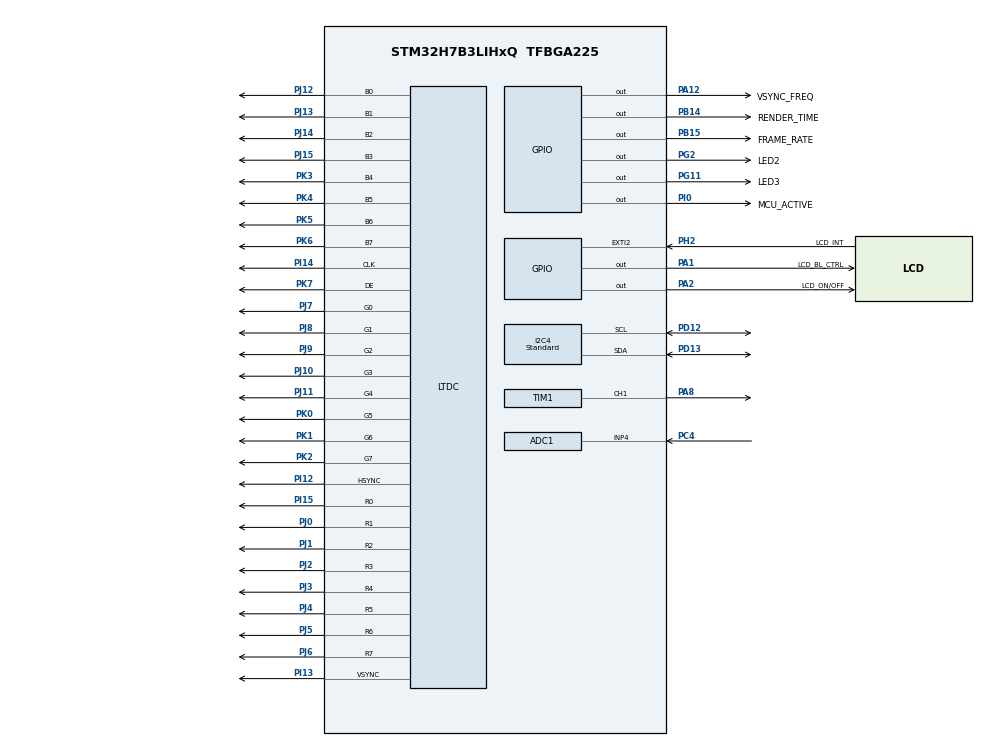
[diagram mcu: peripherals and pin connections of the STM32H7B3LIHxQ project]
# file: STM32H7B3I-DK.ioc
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ADC1.Channel-0\#ChannelRegularConversion=ADC_CHANNEL_4
ADC1.ExternalTrigConv=ADC_EXTERNALTRIG_T1_CC1
ADC1.NbrOfConversionFlag=1
ADC1.OffsetNumber-0\#ChannelRegularConversion=ADC_OFFSET_NONE
ADC1.OffsetSignedSaturation-0\#ChannelRegularConversion=DISABLE
ADC1.Rank-0\#ChannelRegularConversion=1
ADC1.SamplingTime-0\#ChannelRegularConversion=ADC_SAMPLETIME_1CYCLE_5
ADC1.master=1
CORTEX_M7.AccessPermission-Cortex_Memory_Protection_Unit_Region1_Settings=MPU_REGION_FULL_ACCESS
CORTEX_M7.AccessPermission-Cortex_Memory_Protection_Unit_Region2_Settings=MPU_REGION_FULL_ACCESS
CORTEX_M7.AccessPermission-Cortex_Memory_Protection_Unit_Region3_Settings=MPU_REGION_FULL_ACCESS
CORTEX_M7.BaseAddress-Cortex_Memory_Protection_Unit_Region0_Settings=0x90000000
CORTEX_M7.BaseAddress-Cortex_Memory_Protection_Unit_Region1_Settings=0x90000000
CORTEX_M7.BaseAddress-Cortex_Memory_Protection_Unit_Region2_Settings=0x24000000
CORTEX_M7.BaseAddress-Cortex_Memory_Protection_Unit_Region3_Settings=0x24000000
CORTEX_M7.CPU_DCache=Enabled
CORTEX_M7.CPU_ICache=Enabled
CORTEX_M7.DisableExec-Cortex_Memory_Protection_Unit_Region0_Settings=MPU_INSTRUCTION_ACCESS_DISABLE
CORTEX_M7.DisableExec-Cortex_Memory_Protection_Unit_Region1_Settings=MPU_INSTRUCTION_ACCESS_DISABLE
CORTEX_M7.DisableExec-Cortex_Memory_Protection_Unit_Region2_Settings=MPU_INSTRUCTION_ACCESS_DISABLE
CORTEX_M7.DisableExec-Cortex_Memory_Protection_Unit_Region3_Settings=MPU_INSTRUCTION_ACCESS_DISABLE
CORTEX_M7.Enable-Cortex_Memory_Protection_Unit_Region0_Settings=MPU_REGION_ENABLE
CORTEX_M7.Enable-Cortex_Memory_Protection_Unit_Region1_Settings=MPU_REGION_ENABLE
CORTEX_M7.Enable-Cortex_Memory_Protection_Unit_Region2_Settings=MPU_REGION_ENABLE
CORTEX_M7.Enable-Cortex_Memory_Protection_Unit_Region3_Settings=MPU_REGION_ENABLE
CORTEX_M7.IsBufferable-Cortex_Memory_Protection_Unit_Region3_Settings=MPU_ACCESS_BUFFERABLE
CORTEX_M7.IsCacheable-Cortex_Memory_Protection_Unit_Region1_Settings=MPU_ACCESS_CACHEABLE
CORTEX_M7.IsCacheable-Cortex_Memory_Protection_Unit_Region2_Settings=MPU_ACCESS_CACHEABLE
CORTEX_M7.IsCacheable-Cortex_Memory_Protection_Unit_Region3_Settings=MPU_ACCESS_CACHEABLE
CORTEX_M7.MPU_Control=MPU_PRIVILEGED_DEFAULT
CORTEX_M7.Size-Cortex_Memory_Protection_Unit_Region0_Settings=MPU_REGION_SIZE_256MB
CORTEX_M7.Size-Cortex_Memory_Protection_Unit_Region1_Settings=MPU_REGION_SIZE_64MB
CORTEX_M7.Size-Cortex_Memory_Protection_Unit_Region2_Settings=MPU_REGION_SIZE_1MB
CORTEX_M7.Size-Cortex_Memory_Protection_Unit_Region3_Settings=MPU_REGION_SIZE_256KB
DMA2D.ColorMode=DMA2D_OUTPUT_RGB565
FREERTOS.Tasks01=defaultTask,24,128,StartDefaultTask,Default,NULL,Dynamic,NULL,NULL;GUI_Task,24,4096,TouchGFX_Task,As external,NULL,Dynamic,NULL,NULL
FREERTOS.configTOTAL_HEAP_SIZE=32768
I2C4.Analog_Filter=I2C_ANALOGFILTER_DISABLE
I2C4.I2C_Fall_Time=0
I2C4.I2C_Rise_Time=0
I2C4.I2C_Speed_Mode=I2C_Standard
I2C4.Speed=100
I2C4.Timing=0x30808BD0
LTDC.ActiveH=272
LTDC.ActiveW=480
LTDC.Alpha_L0=255
LTDC.BlendingFactor1_L0=LTDC_BLENDING_FACTOR1_CA
LTDC.BlendingFactor2_L0=LTDC_BLENDING_FACTOR2_CA
LTDC.Blue_L0=255
LTDC.HBP=2
LTDC.HFP=32
LTDC.HSync=41
LTDC.ImageHeight_L0=272
LTDC.ImageWidth_L0=480
LTDC.Layers=0
LTDC.PixelFormat_L0=LTDC_PIXEL_FORMAT_RGB888
LTDC.VSync=10
LTDC.WindowX1_L0=480
LTDC.WindowY1_L0=272
Mcu.Family=STM32H7
Mcu.Name=STM32H7B3LIHxQ
Mcu.Package=TFBGA225
NVIC.ADC_IRQn=true\:5\:0\:false\:false\:true\:true\:true\:true
NVIC.DMA2D_IRQn=true\:5\:0\:true\:false\:true\:false\:true\:true
NVIC.EXTI2_IRQn=true\:5\:0\:false\:false\:true\:true\:true\:true
NVIC.LTDC_IRQn=true\:5\:0\:false\:false\:true\:true\:true\:true
NVIC.OCTOSPI1_IRQn=true\:5\:0\:false\:false\:true\:true\:true\:true
NVIC.PriorityGroup=NVIC_PRIORITYGROUP_4
NVIC.TIM6_DAC_IRQn=true\:0\:0\:false\:false\:true\:false\:false\:true
NVIC.TimeBase=TIM6_DAC_IRQn
NVIC.TimeBaseIP=TIM6
OCTOSPI1.ChipSelectBoundary=0
OCTOSPI1.ChipSelectHighTime=2
OCTOSPI1.ClockPrescaler=3
OCTOSPI1.DeviceSize=26
OCTOSPI1.Refresh=0
PA1.GPIO_Label=LCD_BL_CTRL
PA1.GPIO_ModeDefaultOutputPP=GPIO_MODE_OUTPUT_PP
PA1.GPIO_PuPd=GPIO_NOPULL
PA1.GPIO_Speed=GPIO_SPEED_FREQ_LOW
PA1.PinState=GPIO_PIN_RESET
PA1.Signal=GPIO_Output
PA12.GPIO_Label=VSYNC_FREQ
PA12.Signal=GPIO_Output
PA2.GPIO_Label=LCD_ON/OFF
PA2.GPIO_ModeDefaultOutputPP=GPIO_MODE_OUTPUT_PP
PA2.GPIO_PuPd=GPIO_PULLUP
PA2.GPIO_Speed=GPIO_SPEED_FREQ_LOW
PA2.PinState=GPIO_PIN_RESET
PA2.Signal=GPIO_Output
PA8.Signal=S_TIM1_CH1
PB14.GPIO_Label=RENDER_TIME
PB14.Signal=GPIO_Output
PB15.GPIO_Label=FRAME_RATE
PB15.Signal=GPIO_Output
PC4.Signal=ADCx_INP4
PD12.GPIO_Pu=GPIO_PULLUP
PD12.GPIO_Speed=GPIO_SPEED_FREQ_HIGH
PD12.Mode=I2C
PD12.Signal=I2C4_SCL
PD13.GPIO_Pu=GPIO_PULLUP
PD13.GPIO_Speed=GPIO_SPEED_FREQ_HIGH
PD13.Mode=I2C
PD13.Signal=I2C4_SDA
PG11.GPIO_Label=LED3
PG11.Signal=GPIO_Output
PG2.GPIO_Label=LED2
PG2.Signal=GPIO_Output
PH0-OSC_IN.Mode=HSE-External-Oscillator
PH0-OSC_IN.Signal=RCC_OSC_IN
PH1-OSC_OUT.Mode=HSE-External-Oscillator
PH1-OSC_OUT.Signal=RCC_OSC_OUT
PH2.GPIO_Label=LCD_INT
PH2.GPIO_PuPd=GPIO_PULLUP
PH2.Signal=GPXTI2
PI0.GPIO_Label=MCU_ACTIVE
PI0.Signal=GPIO_Output
PI12.Mode=RGB888
PI12.Signal=LTDC_HSYNC
PI13.Mode=RGB888
PI13.Signal=LTDC_VSYNC
PI14.Mode=RGB888
PI14.Signal=LTDC_CLK
PI15.Mode=RGB888
PI15.Signal=LTDC_R0
PJ0.Mode=RGB888
PJ0.Signal=LTDC_R1
PJ1.Mode=RGB888
PJ1.Signal=LTDC_R2
PJ10.Mode=RGB888
PJ10.Signal=LTDC_G3
PJ11.Mode=RGB888
PJ11.Signal=LTDC_G4
PJ12.Mode=RGB888
PJ12.Signal=LTDC_B0
PJ13.Mode=RGB888
PJ13.Signal=LTDC_B1
PJ14.Mode=RGB888
PJ14.Signal=LTDC_B2
PJ15.Mode=RGB888
PJ15.Signal=LTDC_B3
PJ2.Mode=RGB888
PJ2.Signal=LTDC_R3
PJ3.Mode=RGB888
PJ3.Signal=LTDC_R4
PJ4.Mode=RGB888
PJ4.Signal=LTDC_R5
PJ5.Mode=RGB888
PJ5.Signal=LTDC_R6
PJ6.Mode=RGB888
PJ6.Signal=LTDC_R7
PJ7.Mode=RGB888
PJ7.Signal=LTDC_G0
PJ8.Mode=RGB888
PJ8.Signal=LTDC_G1
PJ9.Mode=RGB888
PJ9.Signal=LTDC_G2
PK0.Mode=RGB888
PK0.Signal=LTDC_G5
PK1.Mode=RGB888
PK1.Signal=LTDC_G6
PK2.Mode=RGB888
PK2.Signal=LTDC_G7
PK3.Mode=RGB888
PK3.Signal=LTDC_B4
PK4.Mode=RGB888
PK4.Signal=LTDC_B5
PK5.Mode=RGB888
PK5.Signal=LTDC_B6
PK6.Mode=RGB888
PK6.Signal=LTDC_B7
PK7.GPIO_PuPd=GPIO_NOPULL
PK7.Mode=RGB888
PK7.Signal=LTDC_DE
ProjectManager.HeapSize=0x1000
ProjectManager.StackSize=0x1000
ProjectManager.TargetToolchain=STM32CubeIDE
RCC.ADCFreq_Value=133000000
RCC.APB1Freq_Value=140000000
RCC.APB2Freq_Value=140000000
RCC.APB3Freq_Value=140000000
RCC.APB4Freq_Value=140000000
RCC.CKPERSourceSelection=RCC_CLKPSOURCE_HSE
RCC.CortexFreq_Value=280000000
RCC.DIVM1=12
RCC.DIVM2=24
RCC.DIVM3=24
RCC.DIVN1=280
RCC.DIVN2=266
RCC.DIVN3=201
RCC.DIVR3=21
RCC.HCLKFreq_Value=140000000
RCC.HPRE=RCC_HCLK_DIV2
RCC.HSIDiv=RCC_PLLSAIDIVR_2
RCC.PLL2FRACN=0
RCC.PLL3FRACN=5462
RCC.PLLFRACN=0
RCC.PLLSourceVirtual=RCC_PLLSOURCE_HSE
RCC.PWR_Regulator_Voltage_Scale=PWR_REGULATOR_VOLTAGE_SCALE0
RCC.QSPICLockSelection=RCC_OSPICLKSOURCE_PLL2
RCC.SYSCLKFreq_VALUE=280000000
RCC.SYSCLKSource=RCC_SYSCLKSOURCE_PLLCLK
RCC.SupplySource=PWR_DIRECT_SMPS_SUPPLY
RCC.USBFreq_Value=280000000
SH.ADCx_INP4.0=ADC1_INP4,IN4-Single-Ended
SH.S_TIM1_CH1.0=TIM1_CH1,PWM Generation1 CH1
STMicroelectronics.X-CUBE-TOUCHGFX.4.18.0.ApplicationCcGraphicsJjApplication=TouchGFXOoGenerator
STMicroelectronics.X-CUBE-TOUCHGFX.4.18.0.tgfx_buffering_strategy=Double
STMicroelectronics.X-CUBE-TOUCHGFX.4.18.0.tgfx_display_interface=disp_ltdc
STMicroelectronics.X-CUBE-TOUCHGFX.4.18.0.tgfx_hardware_accelerator=dma_2d
STMicroelectronics.X-CUBE-TOUCHGFX.4.18.0.tgfx_vsync=vsync_ltdc
TIM1.Channel-PWM\ Generation1\ CH1=TIM_CHANNEL_1
TIM1.Period=16000-1
TIM1.Prescaler=140-1
TIM1.Pulse-PWM\ Generation1\ CH1=16000/2
VP_CRC_VS_CRC.Mode=CRC_Activate
VP_DMA2D_VS_DMA2D.Mode=DMA2D_Activate
VP_FREERTOS_VS_CMSIS_V2.Mode=CMSIS_V2
VP_OCTOSPI1_VS_octo.Mode=octo_mode
VP_STMicroelectronics.X-CUBE-TOUCHGFX_VS_GraphicsJjApplication_4.18.0.Mode=GraphicsJjApplication
VP_SYS_VS_tim6.Mode=TIM6
board=custom

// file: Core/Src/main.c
/* USER CODE BEGIN Header */
/**
  ******************************************************************************
  * @file           : main.c
  * @brief          : Main program body
  ******************************************************************************
  * @attention
  *
  * <h2><center>&copy; Copyright (c) 2019 STMicroelectronics.
  * All rights reserved.</center></h2>
  *
  * This software component is licensed by ST under Ultimate Liberty license
  * SLA0044, the "License"; You may not use this file except in compliance with
  * the License. You may obtain a copy of the License at:
  *                             www.st.com/SLA0044
  *
  ******************************************************************************
  */
/* USER CODE END Header */
#include "main.h"
#include "cmsis_os.h"
#include "app_touchgfx.h"

/* USER CODE BEGIN Includes */
#include "stm32h7b3i_discovery_ospi.h"
/* USER CODE END Includes */

ADC_HandleTypeDef hadc1;

CRC_HandleTypeDef hcrc;

DMA2D_HandleTypeDef hdma2d;

I2C_HandleTypeDef hi2c4;

LTDC_HandleTypeDef hltdc;

OSPI_HandleTypeDef hospi1;

TIM_HandleTypeDef htim1;

/* Definitions for defaultTask */
osThreadId_t defaultTaskHandle;
const osThreadAttr_t defaultTask_attributes = {
  .name = "defaultTask",
  .stack_size = 128 * 4,
  .priority = (osPriority_t) osPriorityNormal,
};
/* Definitions for GUI_Task */
osThreadId_t GUI_TaskHandle;
const osThreadAttr_t GUI_Task_attributes = {
  .name = "GUI_Task",
  .stack_size = 4096 * 4,
  .priority = (osPriority_t) osPriorityNormal,
};
/* USER CODE BEGIN PV */
__IO uint16_t uhADCxConvertedData;
/* USER CODE END PV */

void SystemClock_Config(void);
void PeriphCommonClock_Config(void);
static void MPU_Config(void);
static void MX_CRC_Init(void);
static void MX_GPIO_Init(void);
static void MX_DMA2D_Init(void);
static void MX_LTDC_Init(void);
static void MX_I2C4_Init(void);
static void MX_OCTOSPI1_Init(void);
static void MX_ADC1_Init(void);
static void MX_TIM1_Init(void);
void StartDefaultTask(void *argument);
extern void TouchGFX_Task(void *argument);

int main(void)
{

  /* MPU Configuration--------------------------------------------------------*/
  MPU_Config();

  /* Enable I-Cache---------------------------------------------------------*/
  SCB_EnableICache();

  /* Enable D-Cache---------------------------------------------------------*/
  SCB_EnableDCache();

  /* MCU Configuration--------------------------------------------------------*/

  /* Reset of all peripherals, Initializes the Flash interface and the Systick. */
  HAL_Init();

  /* Configure the system clock */
  SystemClock_Config();

/* Configure the peripherals common clocks */
  PeriphCommonClock_Config();

  /* Initialize all configured peripherals */
  MX_CRC_Init();
  MX_GPIO_Init();
  MX_DMA2D_Init();
  MX_LTDC_Init();
  MX_I2C4_Init();
  MX_OCTOSPI1_Init();
  MX_ADC1_Init();
  MX_TIM1_Init();
  MX_TouchGFX_Init();

  /* Init scheduler */
  osKernelInitialize();

  /* Create the thread(s) */
  /* creation of defaultTask */
  defaultTaskHandle = osThreadNew(StartDefaultTask, NULL, &defaultTask_attributes);

  /* creation of GUI_Task */
  GUI_TaskHandle = osThreadNew(TouchGFX_Task, NULL, &GUI_Task_attributes);

  /* Start scheduler */
  osKernelStart();

  /* We should never get here as control is now taken by the scheduler */
  /* Infinite loop */
  while (1)
  {

  }
}

void SystemClock_Config(void)
{
  RCC_OscInitTypeDef RCC_OscInitStruct = {0};
  RCC_ClkInitTypeDef RCC_ClkInitStruct = {0};

  /** Supply configuration update enable
  */
  HAL_PWREx_ConfigSupply(PWR_DIRECT_SMPS_SUPPLY);
  /** Configure the main internal regulator output voltage
  */
  __HAL_PWR_VOLTAGESCALING_CONFIG(PWR_REGULATOR_VOLTAGE_SCALE0);

  while(!__HAL_PWR_GET_FLAG(PWR_FLAG_VOSRDY)) {}
  /** Macro to configure the PLL clock source
  */
  __HAL_RCC_PLL_PLLSOURCE_CONFIG(RCC_PLLSOURCE_HSE);
  /** Initializes the RCC Oscillators according to the specified parameters
  * in the RCC_OscInitTypeDef structure.
  */
  RCC_OscInitStruct.OscillatorType = RCC_OSCILLATORTYPE_HSE;
  RCC_OscInitStruct.HSEState = RCC_HSE_ON;
  RCC_OscInitStruct.PLL.PLLState = RCC_PLL_ON;
  RCC_OscInitStruct.PLL.PLLSource = RCC_PLLSOURCE_HSE;
  RCC_OscInitStruct.PLL.PLLM = 12;
  RCC_OscInitStruct.PLL.PLLN = 280;
  RCC_OscInitStruct.PLL.PLLP = 2;
  RCC_OscInitStruct.PLL.PLLQ = 2;
  RCC_OscInitStruct.PLL.PLLR = 2;
  RCC_OscInitStruct.PLL.PLLRGE = RCC_PLL1VCIRANGE_1;
  RCC_OscInitStruct.PLL.PLLVCOSEL = RCC_PLL1VCOWIDE;
  RCC_OscInitStruct.PLL.PLLFRACN = 0;
  if (HAL_RCC_OscConfig(&RCC_OscInitStruct) != HAL_OK)
  {
    Error_Handler();
  }
  /** Initializes the CPU, AHB and APB buses clocks
  */
  RCC_ClkInitStruct.ClockType = RCC_CLOCKTYPE_HCLK|RCC_CLOCKTYPE_SYSCLK
                              |RCC_CLOCKTYPE_PCLK1|RCC_CLOCKTYPE_PCLK2
                              |RCC_CLOCKTYPE_D3PCLK1|RCC_CLOCKTYPE_D1PCLK1;
  RCC_ClkInitStruct.SYSCLKSource = RCC_SYSCLKSOURCE_PLLCLK;
  RCC_ClkInitStruct.SYSCLKDivider = RCC_SYSCLK_DIV1;
  RCC_ClkInitStruct.AHBCLKDivider = RCC_HCLK_DIV2;
  RCC_ClkInitStruct.APB3CLKDivider = RCC_APB3_DIV1;
  RCC_ClkInitStruct.APB1CLKDivider = RCC_APB1_DIV1;
  RCC_ClkInitStruct.APB2CLKDivider = RCC_APB2_DIV1;
  RCC_ClkInitStruct.APB4CLKDivider = RCC_APB4_DIV1;

  if (HAL_RCC_ClockConfig(&RCC_ClkInitStruct, FLASH_LATENCY_3) != HAL_OK)
  {
    Error_Handler();
  }
}

void PeriphCommonClock_Config(void)
{
  RCC_PeriphCLKInitTypeDef PeriphClkInitStruct = {0};

  /** Initializes the peripherals clock
  */
  PeriphClkInitStruct.PeriphClockSelection = RCC_PERIPHCLK_OSPI|RCC_PERIPHCLK_ADC;
  PeriphClkInitStruct.PLL2.PLL2M = 24;
  PeriphClkInitStruct.PLL2.PLL2N = 266;
  PeriphClkInitStruct.PLL2.PLL2P = 2;
  PeriphClkInitStruct.PLL2.PLL2Q = 2;
  PeriphClkInitStruct.PLL2.PLL2R = 2;
  PeriphClkInitStruct.PLL2.PLL2RGE = RCC_PLL2VCIRANGE_0;
  PeriphClkInitStruct.PLL2.PLL2VCOSEL = RCC_PLL2VCOMEDIUM;
  PeriphClkInitStruct.PLL2.PLL2FRACN = 0;
  PeriphClkInitStruct.OspiClockSelection = RCC_OSPICLKSOURCE_PLL2;
  PeriphClkInitStruct.AdcClockSelection = RCC_ADCCLKSOURCE_PLL2;
  if (HAL_RCCEx_PeriphCLKConfig(&PeriphClkInitStruct) != HAL_OK)
  {
    Error_Handler();
  }
}

static void MX_ADC1_Init(void)
{

  ADC_MultiModeTypeDef multimode = {0};
  ADC_ChannelConfTypeDef sConfig = {0};

  /** Common config
  */
  hadc1.Instance = ADC1;
  hadc1.Init.ClockPrescaler = ADC_CLOCK_ASYNC_DIV1;
  hadc1.Init.Resolution = ADC_RESOLUTION_16B;
  hadc1.Init.ScanConvMode = ADC_SCAN_DISABLE;
  hadc1.Init.EOCSelection = ADC_EOC_SINGLE_CONV;
  hadc1.Init.LowPowerAutoWait = DISABLE;
  hadc1.Init.ContinuousConvMode = DISABLE;
  hadc1.Init.NbrOfConversion = 1;
  hadc1.Init.DiscontinuousConvMode = DISABLE;
  hadc1.Init.ExternalTrigConv = ADC_EXTERNALTRIG_T1_CC1;
  hadc1.Init.ExternalTrigConvEdge = ADC_EXTERNALTRIGCONVEDGE_RISING;
  hadc1.Init.ConversionDataManagement = ADC_CONVERSIONDATA_DR;
  hadc1.Init.Overrun = ADC_OVR_DATA_PRESERVED;
  hadc1.Init.LeftBitShift = ADC_LEFTBITSHIFT_NONE;
  hadc1.Init.OversamplingMode = DISABLE;
  if (HAL_ADC_Init(&hadc1) != HAL_OK)
  {
    Error_Handler();
  }
  /** Configure the ADC multi-mode
  */
  multimode.Mode = ADC_MODE_INDEPENDENT;
  if (HAL_ADCEx_MultiModeConfigChannel(&hadc1, &multimode) != HAL_OK)
  {
    Error_Handler();
  }
  /** Configure Regular Channel
  */
  sConfig.Channel = ADC_CHANNEL_4;
  sConfig.Rank = ADC_REGULAR_RANK_1;
  sConfig.SamplingTime = ADC_SAMPLETIME_1CYCLE_5;
  sConfig.SingleDiff = ADC_SINGLE_ENDED;
  sConfig.OffsetNumber = ADC_OFFSET_NONE;
  sConfig.Offset = 0;
  sConfig.OffsetSignedSaturation = DISABLE;
  if (HAL_ADC_ConfigChannel(&hadc1, &sConfig) != HAL_OK)
  {
    Error_Handler();
  }
  /* USER CODE BEGIN ADC1_Init 2 */
  HAL_ADC_Start_IT(&hadc1);
  /* USER CODE END ADC1_Init 2 */

}

static void MX_CRC_Init(void)
{

  hcrc.Instance = CRC;
  hcrc.Init.DefaultPolynomialUse = DEFAULT_POLYNOMIAL_ENABLE;
  hcrc.Init.DefaultInitValueUse = DEFAULT_INIT_VALUE_ENABLE;
  hcrc.Init.InputDataInversionMode = CRC_INPUTDATA_INVERSION_NONE;
  hcrc.Init.OutputDataInversionMode = CRC_OUTPUTDATA_INVERSION_DISABLE;
  hcrc.InputDataFormat = CRC_INPUTDATA_FORMAT_BYTES;
  if (HAL_CRC_Init(&hcrc) != HAL_OK)
  {
    Error_Handler();
  }

}

static void MX_DMA2D_Init(void)
{

  hdma2d.Instance = DMA2D;
  hdma2d.Init.Mode = DMA2D_M2M;
  hdma2d.Init.ColorMode = DMA2D_OUTPUT_RGB565;
  hdma2d.Init.OutputOffset = 0;
  hdma2d.LayerCfg[1].InputOffset = 0;
  hdma2d.LayerCfg[1].InputColorMode = DMA2D_INPUT_RGB565;
  hdma2d.LayerCfg[1].AlphaMode = DMA2D_NO_MODIF_ALPHA;
  hdma2d.LayerCfg[1].InputAlpha = 0;
  hdma2d.LayerCfg[1].AlphaInverted = DMA2D_REGULAR_ALPHA;
  hdma2d.LayerCfg[1].RedBlueSwap = DMA2D_RB_REGULAR;
  hdma2d.LayerCfg[1].ChromaSubSampling = DMA2D_NO_CSS;
  if (HAL_DMA2D_Init(&hdma2d) != HAL_OK)
  {
    Error_Handler();
  }
  if (HAL_DMA2D_ConfigLayer(&hdma2d, 1) != HAL_OK)
  {
    Error_Handler();
  }

}

static void MX_I2C4_Init(void)
{

  hi2c4.Instance = I2C4;
  hi2c4.Init.Timing = 0x30808BD0;
  hi2c4.Init.OwnAddress1 = 0;
  hi2c4.Init.AddressingMode = I2C_ADDRESSINGMODE_7BIT;
  hi2c4.Init.DualAddressMode = I2C_DUALADDRESS_DISABLE;
  hi2c4.Init.OwnAddress2 = 0;
  hi2c4.Init.OwnAddress2Masks = I2C_OA2_NOMASK;
  hi2c4.Init.GeneralCallMode = I2C_GENERALCALL_DISABLE;
  hi2c4.Init.NoStretchMode = I2C_NOSTRETCH_DISABLE;
  if (HAL_I2C_Init(&hi2c4) != HAL_OK)
  {
    Error_Handler();
  }
  /** Configure Analogue filter
  */
  if (HAL_I2CEx_ConfigAnalogFilter(&hi2c4, I2C_ANALOGFILTER_DISABLE) != HAL_OK)
  {
    Error_Handler();
  }
  /** Configure Digital filter
  */
  if (HAL_I2CEx_ConfigDigitalFilter(&hi2c4, 0) != HAL_OK)
  {
    Error_Handler();
  }

}

static void MX_LTDC_Init(void)
{

  LTDC_LayerCfgTypeDef pLayerCfg = {0};

  hltdc.Instance = LTDC;
  hltdc.Init.HSPolarity = LTDC_HSPOLARITY_AL;
  hltdc.Init.VSPolarity = LTDC_VSPOLARITY_AL;
  hltdc.Init.DEPolarity = LTDC_DEPOLARITY_AL;
  hltdc.Init.PCPolarity = LTDC_PCPOLARITY_IPC;
  hltdc.Init.HorizontalSync = 40;
  hltdc.Init.VerticalSync = 9;
  hltdc.Init.AccumulatedHBP = 42;
  hltdc.Init.AccumulatedVBP = 11;
  hltdc.Init.AccumulatedActiveW = 522;
  hltdc.Init.AccumulatedActiveH = 283;
  hltdc.Init.TotalWidth = 554;
  hltdc.Init.TotalHeigh = 285;
  hltdc.Init.Backcolor.Blue = 0;
  hltdc.Init.Backcolor.Green = 0;
  hltdc.Init.Backcolor.Red = 0;
  if (HAL_LTDC_Init(&hltdc) != HAL_OK)
  {
    Error_Handler();
  }
  pLayerCfg.WindowX0 = 0;
  pLayerCfg.WindowX1 = 480;
  pLayerCfg.WindowY0 = 0;
  pLayerCfg.WindowY1 = 272;
  pLayerCfg.PixelFormat = LTDC_PIXEL_FORMAT_RGB888;
  pLayerCfg.Alpha = 255;
  pLayerCfg.Alpha0 = 0;
  pLayerCfg.BlendingFactor1 = LTDC_BLENDING_FACTOR1_CA;
  pLayerCfg.BlendingFactor2 = LTDC_BLENDING_FACTOR2_CA;
  pLayerCfg.FBStartAdress = 0;
  pLayerCfg.ImageWidth = 480;
  pLayerCfg.ImageHeight = 272;
  pLayerCfg.Backcolor.Blue = 255;
  pLayerCfg.Backcolor.Green = 0;
  pLayerCfg.Backcolor.Red = 0;
  if (HAL_LTDC_ConfigLayer(&hltdc, &pLayerCfg, 0) != HAL_OK)
  {
    Error_Handler();
  }

}

static void MX_OCTOSPI1_Init(void)
{

  /* OCTOSPI1 parameter configuration*/
  hospi1.Instance = OCTOSPI1;
  hospi1.Init.FifoThreshold = 1;
  hospi1.Init.DualQuad = HAL_OSPI_DUALQUAD_DISABLE;
  hospi1.Init.MemoryType = HAL_OSPI_MEMTYPE_MICRON;
  hospi1.Init.DeviceSize = 26;
  hospi1.Init.ChipSelectHighTime = 2;
  hospi1.Init.FreeRunningClock = HAL_OSPI_FREERUNCLK_DISABLE;
  hospi1.Init.ClockMode = HAL_OSPI_CLOCK_MODE_0;
  hospi1.Init.WrapSize = HAL_OSPI_WRAP_NOT_SUPPORTED;
  hospi1.Init.ClockPrescaler = 3;
  hospi1.Init.SampleShifting = HAL_OSPI_SAMPLE_SHIFTING_NONE;
  hospi1.Init.DelayHoldQuarterCycle = HAL_OSPI_DHQC_DISABLE;
  hospi1.Init.ChipSelectBoundary = 0;
  hospi1.Init.ClkChipSelectHighTime = 0;
  hospi1.Init.DelayBlockBypass = HAL_OSPI_DELAY_BLOCK_BYPASSED;
  hospi1.Init.MaxTran = 0;
  hospi1.Init.Refresh = 0;
  if (HAL_OSPI_Init(&hospi1) != HAL_OK)
  {
    Error_Handler();
  }
  /* USER CODE BEGIN OCTOSPI1_Init 2 */
  BSP_OSPI_NOR_Init_t Flash;
  Flash.InterfaceMode = BSP_OSPI_NOR_OPI_MODE;
  Flash.TransferRate  = BSP_OSPI_NOR_DTR_TRANSFER;
  BSP_OSPI_NOR_DeInit(0);
  int32_t RetVal = BSP_OSPI_NOR_Init(0, &Flash);
  if(RetVal != BSP_ERROR_NONE)
  {
    Error_Handler();
  }
  RetVal = BSP_OSPI_NOR_EnableMemoryMappedMode(0);
  if(RetVal != BSP_ERROR_NONE)
  {
    Error_Handler();
  }
  /* USER CODE END OCTOSPI1_Init 2 */

}

static void MX_TIM1_Init(void)
{

  TIM_MasterConfigTypeDef sMasterConfig = {0};
  TIM_OC_InitTypeDef sConfigOC = {0};
  TIM_BreakDeadTimeConfigTypeDef sBreakDeadTimeConfig = {0};

  htim1.Instance = TIM1;
  htim1.Init.Prescaler = 140-1;
  htim1.Init.CounterMode = TIM_COUNTERMODE_UP;
  htim1.Init.Period = 16000-1;
  htim1.Init.ClockDivision = TIM_CLOCKDIVISION_DIV1;
  htim1.Init.RepetitionCounter = 0;
  htim1.Init.AutoReloadPreload = TIM_AUTORELOAD_PRELOAD_DISABLE;
  if (HAL_TIM_PWM_Init(&htim1) != HAL_OK)
  {
    Error_Handler();
  }
  sMasterConfig.MasterOutputTrigger = TIM_TRGO_RESET;
  sMasterConfig.MasterOutputTrigger2 = TIM_TRGO2_RESET;
  sMasterConfig.MasterSlaveMode = TIM_MASTERSLAVEMODE_DISABLE;
  if (HAL_TIMEx_MasterConfigSynchronization(&htim1, &sMasterConfig) != HAL_OK)
  {
    Error_Handler();
  }
  sConfigOC.OCMode = TIM_OCMODE_PWM1;
  sConfigOC.Pulse = 16000/2;
  sConfigOC.OCPolarity = TIM_OCPOLARITY_HIGH;
  sConfigOC.OCNPolarity = TIM_OCNPOLARITY_HIGH;
  sConfigOC.OCFastMode = TIM_OCFAST_DISABLE;
  sConfigOC.OCIdleState = TIM_OCIDLESTATE_RESET;
  sConfigOC.OCNIdleState = TIM_OCNIDLESTATE_RESET;
  if (HAL_TIM_PWM_ConfigChannel(&htim1, &sConfigOC, TIM_CHANNEL_1) != HAL_OK)
  {
    Error_Handler();
  }
  sBreakDeadTimeConfig.OffStateRunMode = TIM_OSSR_DISABLE;
  sBreakDeadTimeConfig.OffStateIDLEMode = TIM_OSSI_DISABLE;
  sBreakDeadTimeConfig.LockLevel = TIM_LOCKLEVEL_OFF;
  sBreakDeadTimeConfig.DeadTime = 0;
  sBreakDeadTimeConfig.BreakState = TIM_BREAK_DISABLE;
  sBreakDeadTimeConfig.BreakPolarity = TIM_BREAKPOLARITY_HIGH;
  sBreakDeadTimeConfig.BreakFilter = 0;
  sBreakDeadTimeConfig.Break2State = TIM_BREAK2_DISABLE;
  sBreakDeadTimeConfig.Break2Polarity = TIM_BREAK2POLARITY_HIGH;
  sBreakDeadTimeConfig.Break2Filter = 0;
  sBreakDeadTimeConfig.AutomaticOutput = TIM_AUTOMATICOUTPUT_DISABLE;
  if (HAL_TIMEx_ConfigBreakDeadTime(&htim1, &sBreakDeadTimeConfig) != HAL_OK)
  {
    Error_Handler();
  }
  /* USER CODE BEGIN TIM1_Init 2 */
  HAL_TIM_PWM_Start(&htim1, TIM_CHANNEL_1);
  /* USER CODE END TIM1_Init 2 */
  HAL_TIM_MspPostInit(&htim1);

}

static void MX_GPIO_Init(void)
{
  GPIO_InitTypeDef GPIO_InitStruct = {0};

  /* GPIO Ports Clock Enable */
  __HAL_RCC_GPIOK_CLK_ENABLE();
  __HAL_RCC_GPIOG_CLK_ENABLE();
  __HAL_RCC_GPIOJ_CLK_ENABLE();
  __HAL_RCC_GPIOI_CLK_ENABLE();
  __HAL_RCC_GPIOA_CLK_ENABLE();
  __HAL_RCC_GPIOD_CLK_ENABLE();
  __HAL_RCC_GPIOH_CLK_ENABLE();
  __HAL_RCC_GPIOC_CLK_ENABLE();
  __HAL_RCC_GPIOB_CLK_ENABLE();

  /*Configure GPIO pin Output Level */
  HAL_GPIO_WritePin(GPIOG, LED3_Pin|LED2_Pin, GPIO_PIN_RESET);

  /*Configure GPIO pin Output Level */
  HAL_GPIO_WritePin(MCU_ACTIVE_GPIO_Port, MCU_ACTIVE_Pin, GPIO_PIN_RESET);

  /*Configure GPIO pin Output Level */
  HAL_GPIO_WritePin(GPIOA, VSYNC_FREQ_Pin|LCD_BL_CTRL_Pin|LCD_ON_OFF_Pin, GPIO_PIN_RESET);

  /*Configure GPIO pin Output Level */
  HAL_GPIO_WritePin(GPIOB, RENDER_TIME_Pin|FRAME_RATE_Pin, GPIO_PIN_RESET);

  /*Configure GPIO pins : LED3_Pin LED2_Pin */
  GPIO_InitStruct.Pin = LED3_Pin|LED2_Pin;
  GPIO_InitStruct.Mode = GPIO_MODE_OUTPUT_PP;
  GPIO_InitStruct.Pull = GPIO_NOPULL;
  GPIO_InitStruct.Speed = GPIO_SPEED_FREQ_LOW;
  HAL_GPIO_Init(GPIOG, &GPIO_InitStruct);

  /*Configure GPIO pin : MCU_ACTIVE_Pin */
  GPIO_InitStruct.Pin = MCU_ACTIVE_Pin;
  GPIO_InitStruct.Mode = GPIO_MODE_OUTPUT_PP;
  GPIO_InitStruct.Pull = GPIO_NOPULL;
  GPIO_InitStruct.Speed = GPIO_SPEED_FREQ_LOW;
  HAL_GPIO_Init(MCU_ACTIVE_GPIO_Port, &GPIO_InitStruct);

  /*Configure GPIO pins : VSYNC_FREQ_Pin LCD_BL_CTRL_Pin */
  GPIO_InitStruct.Pin = VSYNC_FREQ_Pin|LCD_BL_CTRL_Pin;
  GPIO_InitStruct.Mode = GPIO_MODE_OUTPUT_PP;
  GPIO_InitStruct.Pull = GPIO_NOPULL;
  GPIO_InitStruct.Speed = GPIO_SPEED_FREQ_LOW;
  HAL_GPIO_Init(GPIOA, &GPIO_InitStruct);

  /*Configure GPIO pin : LCD_INT_Pin */
  GPIO_InitStruct.Pin = LCD_INT_Pin;
  GPIO_InitStruct.Mode = GPIO_MODE_IT_RISING;
  GPIO_InitStruct.Pull = GPIO_PULLUP;
  HAL_GPIO_Init(LCD_INT_GPIO_Port, &GPIO_InitStruct);

  /*Configure GPIO pins : RENDER_TIME_Pin FRAME_RATE_Pin */
  GPIO_InitStruct.Pin = RENDER_TIME_Pin|FRAME_RATE_Pin;
  GPIO_InitStruct.Mode = GPIO_MODE_OUTPUT_PP;
  GPIO_InitStruct.Pull = GPIO_NOPULL;
  GPIO_InitStruct.Speed = GPIO_SPEED_FREQ_LOW;
  HAL_GPIO_Init(GPIOB, &GPIO_InitStruct);

  /*Configure GPIO pin : LCD_ON_OFF_Pin */
  GPIO_InitStruct.Pin = LCD_ON_OFF_Pin;
  GPIO_InitStruct.Mode = GPIO_MODE_OUTPUT_PP;
  GPIO_InitStruct.Pull = GPIO_PULLUP;
  GPIO_InitStruct.Speed = GPIO_SPEED_FREQ_LOW;
  HAL_GPIO_Init(LCD_ON_OFF_GPIO_Port, &GPIO_InitStruct);

  /* EXTI interrupt init*/
  HAL_NVIC_SetPriority(EXTI2_IRQn, 5, 0);
  HAL_NVIC_EnableIRQ(EXTI2_IRQn);

}

/* USER CODE BEGIN 4 */
void HAL_ADC_ConvCplt_Callback(ADC_HandleTypeDef *hadc)
{
	/* Retrieve ADC conversion data */
	uhADCxConvertedData = HAL_ADC_GetValue(hadc);
}
/* USER CODE END 4 */

void StartDefaultTask(void *argument)
{
  /* USER CODE BEGIN 5 */

  /* Infinite loop */
  for(;;)
  {
    osDelay(100);
  }
  /* USER CODE END 5 */
}

/* MPU Configuration */

void MPU_Config(void)
{
  MPU_Region_InitTypeDef MPU_InitStruct = {0};

  /* Disables the MPU */
  HAL_MPU_Disable();
  /** Initializes and configures the Region and the memory to be protected
  */
  MPU_InitStruct.Enable = MPU_REGION_ENABLE;
  MPU_InitStruct.Number = MPU_REGION_NUMBER0;
  MPU_InitStruct.BaseAddress = 0x90000000;
  MPU_InitStruct.Size = MPU_REGION_SIZE_256MB;
  MPU_InitStruct.SubRegionDisable = 0x0;
  MPU_InitStruct.TypeExtField = MPU_TEX_LEVEL0;
  MPU_InitStruct.AccessPermission = MPU_REGION_NO_ACCESS;
  MPU_InitStruct.DisableExec = MPU_INSTRUCTION_ACCESS_DISABLE;
  MPU_InitStruct.IsShareable = MPU_ACCESS_NOT_SHAREABLE;
  MPU_InitStruct.IsCacheable = MPU_ACCESS_NOT_CACHEABLE;
  MPU_InitStruct.IsBufferable = MPU_ACCESS_NOT_BUFFERABLE;

  HAL_MPU_ConfigRegion(&MPU_InitStruct);
  /** Initializes and configures the Region and the memory to be protected
  */
  MPU_InitStruct.Number = MPU_REGION_NUMBER1;
  MPU_InitStruct.Size = MPU_REGION_SIZE_64MB;
  MPU_InitStruct.AccessPermission = MPU_REGION_FULL_ACCESS;
  MPU_InitStruct.IsCacheable = MPU_ACCESS_CACHEABLE;

  HAL_MPU_ConfigRegion(&MPU_InitStruct);
  /** Initializes and configures the Region and the memory to be protected
  */
  MPU_InitStruct.Number = MPU_REGION_NUMBER2;
  MPU_InitStruct.BaseAddress = 0x24000000;
  MPU_InitStruct.Size = MPU_REGION_SIZE_1MB;

  HAL_MPU_ConfigRegion(&MPU_InitStruct);
  /** Initializes and configures the Region and the memory to be protected
  */
  MPU_InitStruct.Number = MPU_REGION_NUMBER3;
  MPU_InitStruct.Size = MPU_REGION_SIZE_256KB;
  MPU_InitStruct.IsBufferable = MPU_ACCESS_BUFFERABLE;

  HAL_MPU_ConfigRegion(&MPU_InitStruct);
  /* Enables the MPU */
  HAL_MPU_Enable(MPU_PRIVILEGED_DEFAULT);

}

void HAL_TIM_PeriodElapsedCallback(TIM_HandleTypeDef *htim)
{
  if (htim->Instance == TIM6) {
    HAL_IncTick();
  }
}

void Error_Handler(void)
{
}

/************************ (C) COPYRIGHT STMicroelectronics *****END OF FILE****/
